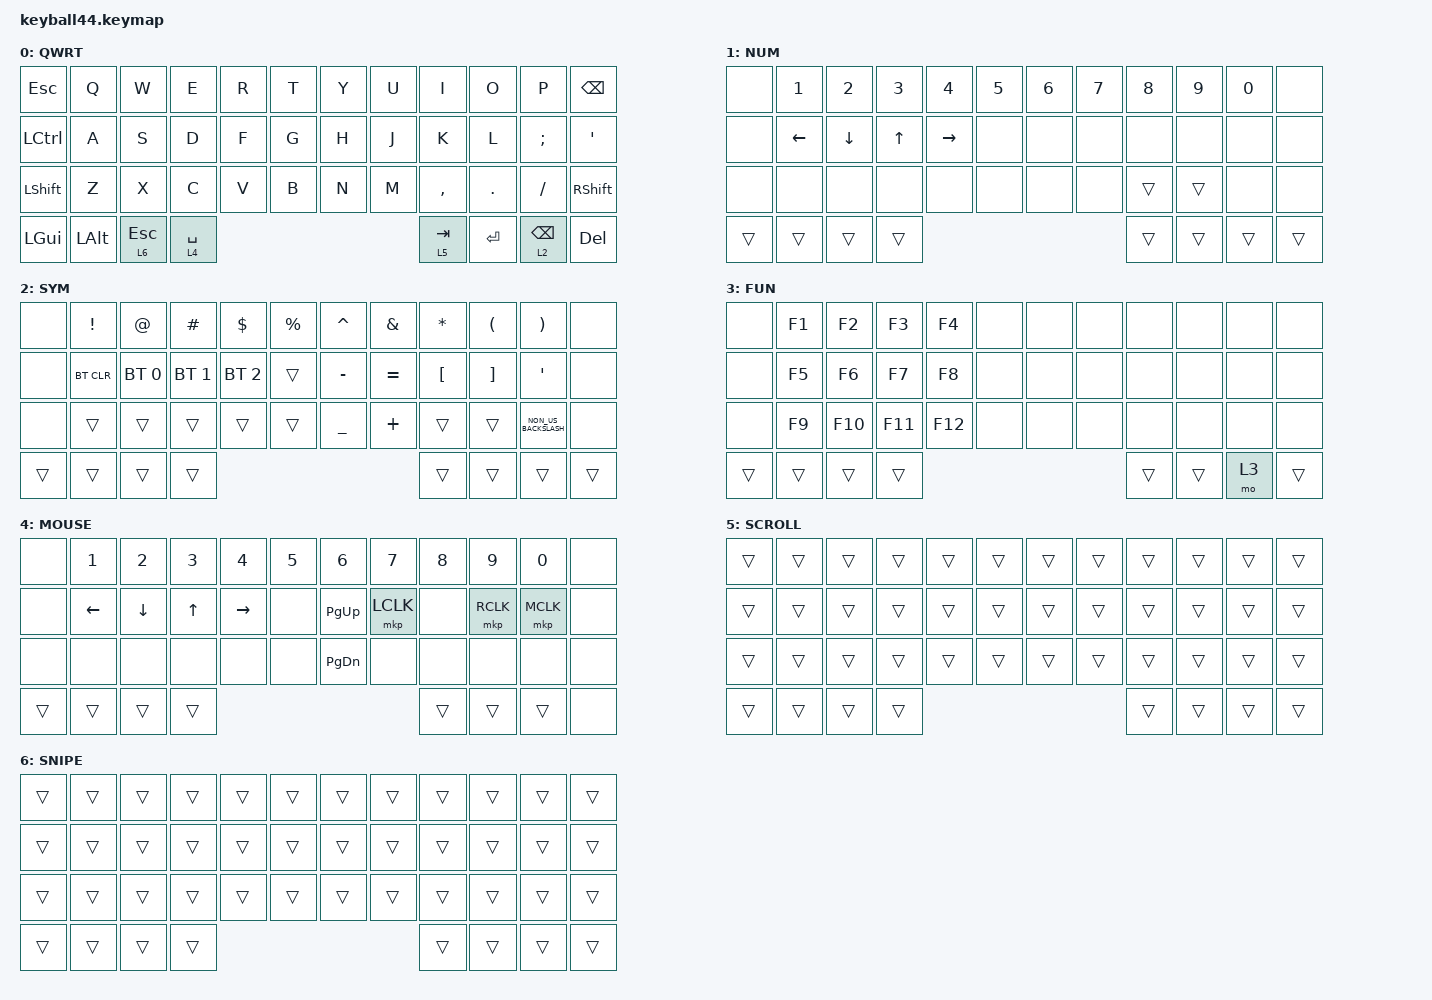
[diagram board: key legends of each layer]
#define DEFAULT 0
#define NUM     1
#define SYM     2
#define FUN     3
#define MOUSE   4
#define SCROLL  5
#define SNIPE   6

#include <behaviors/mouse_keys.dtsi>
#include <behaviors.dtsi>
#include <behaviors/runtime_macro.dtsi>
#include <dt-bindings/zmk/bt.h>
#include <dt-bindings/zmk/keys.h>
#include <dt-bindings/zmk/mouse.h>
#include <dt-bindings/zmk/pointing.h>
#include <dt-bindings/zmk/runtime_input_processor.h>
#include <dt-bindings/input/input-event-codes.h>

#include <behaviors/runtime-input-processor.dtsi>

&lt {
    tapping-term-ms = <240>;
    flavor = "balanced";
    quick-tap-ms = <150>;
};

&mt {
    tapping-term-ms = <200>;
    flavor = "tap-preferred";
    quick-tap-ms = <150>;
};

&caps_word { continue-list = <UNDERSCORE MINUS>; };

/ {
    // custom shift using mod-morph 

    behaviors {
        cmqus: comma_question {
            compatible = "zmk,behavior-mod-morph";
            label = "COMMA_QUESTION";
            #binding-cells = <0>;
            bindings = <&kp COMMA>, <&kp QUESTION>;

            mods = <(MOD_LSFT|MOD_RSFT)>;
        };

        dtsmi: dot_semi {
            compatible = "zmk,behavior-mod-morph";
            label = "DOT_SEMI";
            #binding-cells = <0>;
            bindings = <&kp DOT>, <&kp SEMI>;

            mods = <(MOD_LSFT|MOD_RSFT)>;
        };
    };

    keymap {
        compatible = "zmk,keymap";

        default_layer {
            label = "QWRT";
            bindings = <
&kp ESCAPE      &kp Q     &kp W         &kp E        &kp R      &kp T                 &kp Y            &kp U  &kp I      &kp O    &kp P      &kp BACKSPACE
&kp LCTRL       &kp A     &kp S         &kp D        &kp F      &kp G                 &kp H            &kp J  &kp K      &kp L    &kp SEMI   &kp SQT
&kp LEFT_SHIFT  &kp Z     &kp X         &kp C        &kp V      &kp B                 &kp N            &kp M  &kp COMMA  &kp DOT  &kp SLASH  &kp RIGHT_SHIFT
&kp LGUI        &kp LALT  &lt 6 ESCAPE  &lt 4 SPACE  &lt 5 TAB             &kp ENTER  &lt 2 BACKSPACE                                        &kp DELETE
            >;
        };

        number_layer {
            label = "NUM";
            bindings = <
&none   &kp NUMBER_1  &kp NUMBER_2  &kp NUMBER_3  &kp NUMBER_4  &kp NUMBER_5              &kp NUMBER_6  &kp NUMBER_7  &kp NUMBER_8  &kp NUMBER_9  &kp NUMBER_0  &none
&none   &kp LEFT      &kp DOWN      &kp UP_ARROW  &kp RIGHT     &none                     &none         &none         &none         &none         &none         &none
&none   &none         &none         &none         &none         &none                     &none         &none         &trans        &trans        &none         &none
&trans  &trans        &trans        &trans        &trans                          &trans  &trans                                                                &trans
            >;
        };

        symbol_layer {
            label = "SYM";
            bindings = <
&none   &kp EXCLAMATION  &kp AT_SIGN   &kp HASH      &kp DOLLAR    &kp PERCENT              &kp CARET       &kp AMPERSAND  &kp ASTERISK      &kp LEFT_PARENTHESIS  &kp RIGHT_PARENTHESIS  &none
&none   &bt BT_CLR       &bt BT_SEL 0  &bt BT_SEL 1  &bt BT_SEL 2  &trans                   &kp MINUS       &kp EQUAL      &kp LEFT_BRACKET  &kp RIGHT_BRACKET     &kp SQT                &none
&none   &trans           &trans        &trans        &trans        &trans                   &kp UNDERSCORE  &kp PLUS       &trans            &trans                &kp NON_US_BACKSLASH   &none
&trans  &trans           &trans        &trans        &trans                         &trans  &trans                                                                                        &trans
            >;
        };

        function_layer {
            label = "FUN";
            bindings = <
&none   &kp F1  &kp F2   &kp F3   &kp F4   &none              &none  &none  &none  &none  &none  &none
&none   &kp F5  &kp F6   &kp F7   &kp F8   &none              &none  &none  &none  &none  &none  &none
&none   &kp F9  &kp F10  &kp F11  &kp F12  &none              &none  &none  &none  &none  &none  &none
&trans  &trans  &trans   &trans   &trans              &trans  &mo 3                              &trans
            >;
        };

        mouse_layer {
            label = "MOUSE";
            bindings = <
&none   &kp N1          &kp N2          &kp N3        &kp N4     &kp N5              &kp N6         &kp N7     &kp N8  &kp N9     &kp N0     &none
&none   &kp LEFT_ARROW  &kp DOWN_ARROW  &kp UP_ARROW  &kp RIGHT  &none               &kp PAGE_UP    &mkp LCLK  &none   &mkp RCLK  &mkp MCLK  &none
&none   &none           &none           &none         &none      &none               &kp PAGE_DOWN  &none      &none   &none      &none      &none
&trans  &trans          &trans          &trans        &trans                 &trans  &trans                                                  &none
            >;
        };

        scroll_layer {
            label = "SCROLL";
            bindings = <
&trans  &trans  &trans  &trans  &trans  &trans              &trans  &trans  &trans  &trans  &trans  &trans
&trans  &trans  &trans  &trans  &trans  &trans              &trans  &trans  &trans  &trans  &trans  &trans
&trans  &trans  &trans  &trans  &trans  &trans              &trans  &trans  &trans  &trans  &trans  &trans
&trans  &trans  &trans  &trans  &trans              &trans  &trans                                  &trans
            >;
        };

        snipe_layer {
            label = "SNIPE";
            bindings = <
&trans  &trans  &trans  &trans  &trans  &trans              &trans  &trans  &trans  &trans  &trans  &trans
&trans  &trans  &trans  &trans  &trans  &trans              &trans  &trans  &trans  &trans  &trans  &trans
&trans  &trans  &trans  &trans  &trans  &trans              &trans  &trans  &trans  &trans  &trans  &trans
&trans  &trans  &trans  &trans  &trans              &trans  &trans                                  &trans
            >;
        };
    };
};

&mouse_runtime_input_processor {
    temp-layer-enabled;
    temp-layer = <4>;
    temp-layer-activation-delay-ms = <200>;
    temp-layer-deactivation-delay-ms = <400>; 
};

&scroll_runtime_input_processor {
    active-layers = <BIT(5)>;
    x-codes = <INPUT_REL_X>;
    y-codes = <INPUT_REL_Y>;
    xy-to-scroll-enabled;
    axis-snap-threshold = <100>;
};

&trackball {
    cpi = <800>;
};

